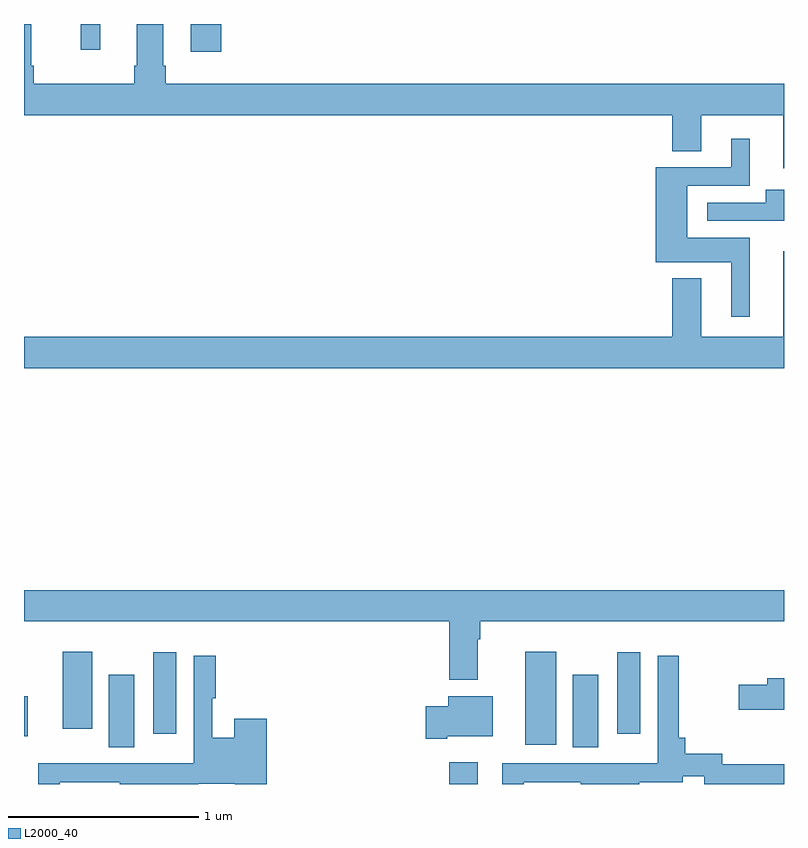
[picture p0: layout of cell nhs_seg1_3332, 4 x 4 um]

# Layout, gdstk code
import gdstk
lib = gdstk.Library(unit=1e-6, precision=1e-09)
def R(c, l, rs):  # rectangles x0, y0, x1, y1
    for r in rs: c.add(gdstk.rectangle(r[:2], r[2:], *l))
def P(c, l, *ps):  # polygons
    for p in ps: c.add(gdstk.Polygon(p, *l))
L2000_40 = (2000, 40)

nhs_seg1_3332 = lib.new_cell('nhs_seg1_3332')
R(nhs_seg1_3332, L2000_40, [(293.237,560.199,293.389,560.314), (291.446,560.392,291.58,560.773), (293.888,560.392,294.022,560.773), (293.639,560.406,293.8,560.896), (291,560.45,291.019,560.662), (291.68,560.463,291.802,560.893), (294.122,560.463,294.244,560.893), (291.203,560.49,291.358,560.896), (291.878,564.054,292.037,564.199), (291.298,564.063,291.401,564.199)])
P(nhs_seg1_3332, L2000_40, [(295,563.884),(291.746,563.884),(291.746,563.98),(291.733,563.98),(291.733,564.199),(291.593,564.199),(291.593,563.98),(291.581,563.98),(291.581,563.884),(291.05,563.884),(291.05,563.98),(291.037,563.98),(291.037,564.199),(291,564.199),(291,563.72),(294.413,563.72),(294.413,563.53),(294.565,563.53),(294.565,563.72),(294.995,563.72),(294.995,563.439),(295,563.439)],
  [(294.82,563.074),(294.49,563.074),(294.49,563.349),(294.82,563.349),(294.82,563.596),(294.722,563.596),(294.722,563.445),(294.326,563.445),(294.326,562.946),(294.722,562.946),(294.722,562.659),(294.82,562.659)],
  [(295,563.326),(294.905,563.326),(294.905,563.259),(294.597,563.259),(294.597,563.163),(295,563.163)],
  [(295,563.002),(294.995,563.002),(294.995,562.552),(294.565,562.552),(294.565,562.861),(294.413,562.861),(294.413,562.552),(291,562.552),(291,562.388),(295,562.388)],
  [(293.389,560.96),(293.402,560.96),(293.402,561.056),(295,561.056),(295,561.22),(291,561.22),(291,561.056),(293.237,561.056),(293.237,560.747),(293.389,560.747)],
  [(291.187,560.209),(291.503,560.209),(291.503,560.199),(291.918,560.199),(291.918,560.201),(292.11,560.201),(292.11,560.199),(292.277,560.199),(292.277,560.542),(292.106,560.542),(292.106,560.443),(291.99,560.443),(291.99,560.651),(292.01,560.651),(292.01,560.875),(291.894,560.875),(291.894,560.308),(291.684,560.308),(291.684,560.307),(291.35,560.307),(291.35,560.309),(291.075,560.309),(291.075,560.199),(291.187,560.199)],
  [(293.629,560.209),(293.929,560.209),(293.929,560.199),(294.239,560.199),(294.239,560.209),(294.466,560.209),(294.466,560.239),(294.579,560.239),(294.579,560.199),(295,560.199),(295,560.303),(294.675,560.303),(294.675,560.357),(294.479,560.357),(294.479,560.443),(294.445,560.443),(294.445,560.875),(294.336,560.875),(294.336,560.308),(294.126,560.308),(294.126,560.307),(293.517,560.307),(293.517,560.199),(293.629,560.199)],
  [(295,560.755),(294.911,560.755),(294.911,560.721),(294.762,560.721),(294.762,560.591),(295,560.591)],
  [(293.227,560.45),(293.467,560.45),(293.467,560.662),(293.234,560.662),(293.234,560.608),(293.115,560.608),(293.115,560.438),(293.227,560.438)])

lib.write_gds('nhs_seg1_3332.gds')
